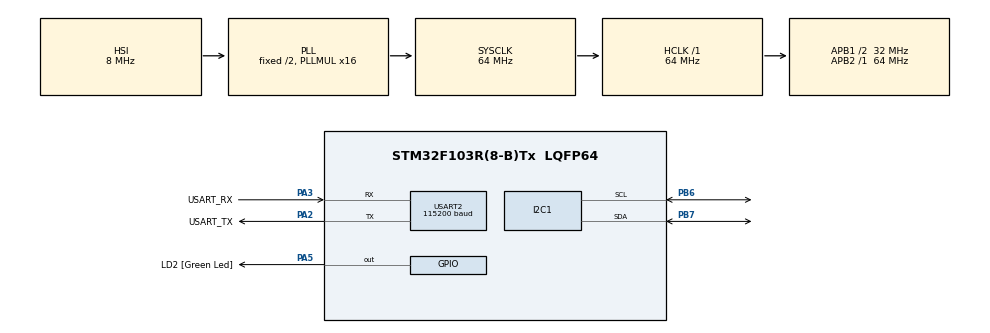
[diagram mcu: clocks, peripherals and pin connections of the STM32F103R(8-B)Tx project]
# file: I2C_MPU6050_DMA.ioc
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Dma.I2C1_RX.0.Direction=DMA_PERIPH_TO_MEMORY
Dma.I2C1_RX.0.Instance=DMA1_Channel7
Dma.I2C1_RX.0.MemDataAlignment=DMA_MDATAALIGN_BYTE
Dma.I2C1_RX.0.MemInc=DMA_MINC_ENABLE
Dma.I2C1_RX.0.Mode=DMA_NORMAL
Dma.I2C1_RX.0.PeriphDataAlignment=DMA_PDATAALIGN_BYTE
Dma.I2C1_RX.0.PeriphInc=DMA_PINC_DISABLE
Dma.I2C1_RX.0.Priority=DMA_PRIORITY_LOW
Dma.I2C1_TX.1.Direction=DMA_MEMORY_TO_PERIPH
Dma.I2C1_TX.1.Instance=DMA1_Channel6
Dma.I2C1_TX.1.MemDataAlignment=DMA_MDATAALIGN_BYTE
Dma.I2C1_TX.1.MemInc=DMA_MINC_ENABLE
Dma.I2C1_TX.1.Mode=DMA_NORMAL
Dma.I2C1_TX.1.PeriphDataAlignment=DMA_PDATAALIGN_BYTE
Dma.I2C1_TX.1.PeriphInc=DMA_PINC_DISABLE
Dma.I2C1_TX.1.Priority=DMA_PRIORITY_LOW
Dma.Request0=I2C1_RX
Dma.Request1=I2C1_TX
Mcu.Family=STM32F1
Mcu.Name=STM32F103R(8-B)Tx
Mcu.Package=LQFP64
NVIC.DMA1_Channel6_IRQn=true\:1\:0\:false\:false\:true\:true\:true\:true
NVIC.DMA1_Channel7_IRQn=true\:1\:0\:false\:false\:true\:true\:true\:true
NVIC.I2C1_ER_IRQn=true\:0\:0\:false\:false\:true\:true\:true\:true
NVIC.I2C1_EV_IRQn=true\:0\:0\:false\:false\:true\:true\:true\:true
NVIC.PriorityGroup=NVIC_PRIORITYGROUP_4
PA13.GPIO_Label=TMS
PA13.Mode=Serial_Wire
PA13.Signal=SYS_JTMS-SWDIO
PA14.GPIO_Label=TCK
PA14.Mode=Serial_Wire
PA14.Signal=SYS_JTCK-SWCLK
PA2.GPIO_Label=USART_TX
PA2.GPIO_Mode=GPIO_MODE_AF_PP
PA2.GPIO_PuPd=GPIO_NOPULL
PA2.GPIO_Speed=GPIO_SPEED_FREQ_LOW
PA2.Mode=Asynchronous
PA2.Signal=USART2_TX
PA3.GPIO_Label=USART_RX
PA3.GPIO_PuPd=GPIO_NOPULL
PA3.GPIO_Speed=GPIO_SPEED_FREQ_LOW
PA3.Mode=Asynchronous
PA3.Signal=USART2_RX
PA5.GPIO_Label=LD2 [Green Led]
PA5.GPIO_ModeDefaultOutputPP=GPIO_MODE_OUTPUT_PP
PA5.GPIO_PuPd=GPIO_NOPULL
PA5.GPIO_Speed=GPIO_SPEED_FREQ_LOW
PA5.Signal=GPIO_Output
PB3.GPIO_Label=SWO
PB3.Signal=SYS_JTDO-TRACESWO
PB6.Mode=I2C
PB6.Signal=I2C1_SCL
PB7.Mode=I2C
PB7.Signal=I2C1_SDA
PC14-OSC32_IN.Mode=LSE-External-Oscillator
PC14-OSC32_IN.Signal=RCC_OSC32_IN
PC15-OSC32_OUT.Mode=LSE-External-Oscillator
PC15-OSC32_OUT.Signal=RCC_OSC32_OUT
PD0-OSC_IN.Mode=HSE-External-Clock-Source
PD0-OSC_IN.Signal=RCC_OSC_IN
PD1-OSC_OUT.Mode=HSE-External-Clock-Source
PD1-OSC_OUT.Signal=RCC_OSC_OUT
ProjectManager.HeapSize=0x200
ProjectManager.StackSize=0x400
ProjectManager.TargetToolchain=STM32CubeIDE
RCC.AHBFreq_Value=64000000
RCC.APB1CLKDivider=RCC_HCLK_DIV2
RCC.APB1Freq_Value=32000000
RCC.APB1TimFreq_Value=64000000
RCC.APB2Freq_Value=64000000
RCC.APB2TimFreq_Value=64000000
RCC.HCLKFreq_Value=64000000
RCC.PLLMUL=RCC_PLL_MUL16
RCC.RTCClockSelection=RCC_RTCCLKSOURCE_LSE
RCC.SYSCLKFreq_VALUE=64000000
RCC.SYSCLKSource=RCC_SYSCLKSOURCE_PLLCLK
RCC.USBFreq_Value=64000000
USART2.BaudRate=115200
USART2.VirtualMode=VM_ASYNC
board=NUCLEO-F103RB

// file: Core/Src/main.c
/* USER CODE BEGIN Header */
/**
 ******************************************************************************
 * @file           : main.c
 * @brief          : Main program body
 ******************************************************************************
 * @attention
 *
 * Copyright (c) 2026 STMicroelectronics.
 * All rights reserved.
 *
 * This software is licensed under terms that can be found in the LICENSE file
 * in the root directory of this software component.
 * If no LICENSE file comes with this software, it is provided AS-IS.
 *
 ******************************************************************************
 */
/**
 * 04_I2C_MPU6050_DMA_c  —  [계층: HAL]  DMA 로 하는 논블로킹 I2C: 전송 중에도 CPU 는 다른 일을 한다
 *
 * 03_I2C_MPU6050 은 HAL_I2C_Mem_Read() 가 전송이 끝날 때까지(약 1.4ms @100kHz) CPU 를 붙잡는다.
 * 이 예제는 HAL_I2C_Mem_Read_DMA() 로 읽기를 "시작"만 하고 곧바로 다른 일을 하다가, 완료 콜백에서 결과를 받는다.
 *
 * 배선: MPU6050(GY-521) VCC=3.3V, GND, SCL=PB6, SDA=PB7, AD0=GND (주소 0x68) — 03_I2C_MPU6050 과 동일
 *
 * 동작
 *   - 100ms 마다 0x3B 부터 14바이트를 DMA 로 읽기 시작. 그동안 main 은 "다른 일"(free_loops 카운터)을 계속 수행.
 *   - 완료 콜백이 raw 데이터를 복사하고 플래그를 세움 -> main 이 변환해 UART(115200)로 출력.
 *   - 출력에는 "전송 시작~완료 사이에 main 이 돈 루프 수"가 함께 표시되어 CPU 가 자유로웠음을 보여준다.
 *   - 버스 오류(NACK, 타임아웃)는 ErrorCallback 에서 플래그로 알리고, main 이 I2C 를 재초기화해 복구한다.
 *
 * DMA 채널 매핑 (RM0008 13.3.7): I2C1_TX -> DMA1 채널6,  I2C1_RX -> DMA1 채널7
 *   I2C1->CR2.DMAEN=1, LAST=1 (마지막 바이트에서 NACK + STOP 자동 생성)
 *
 * ISR vs 콜백
 *   DMA1_Channel7_IRQHandler / DMA1_Channel6_IRQHandler / I2C1_EV_IRQHandler / I2C1_ER_IRQHandler (stm32f1xx_it.c, 진짜 ISR)
 *     -> HAL_DMA_IRQHandler / HAL_I2C_EV_IRQHandler / HAL_I2C_ER_IRQHandler
 *       -> HAL_I2C_MemRxCpltCallback() (수신 완료), HAL_I2C_ErrorCallback() (오류)  (이 파일)
 */
/* USER CODE END Header */
#include "main.h"

/* USER CODE BEGIN Includes */
#include <stdio.h>
#include <string.h>
/* USER CODE END Includes */

/* USER CODE BEGIN PD */
#define MPU_ADDR      (0x68 << 1)
#define REG_WHO_AM_I  0x75
#define REG_PWR_MGMT1 0x6B
#define REG_ACCEL_OUT 0x3B

/* USER CODE END PD */

I2C_HandleTypeDef hi2c1;
DMA_HandleTypeDef hdma_i2c1_rx;
DMA_HandleTypeDef hdma_i2c1_tx;
UART_HandleTypeDef huart2;

/* USER CODE BEGIN PV */
static uint8_t dma_buf[14];                     /* DMA 가 채우는 버퍼 */
static uint8_t data[14];                        /* 콜백이 복사해 둔 사본 */
static volatile uint8_t rx_done, rx_error;
static volatile uint32_t loops_during;          /* 전송 중 main 이 돈 횟수 */
/* USER CODE END PV */

void SystemClock_Config(void);
static void MX_GPIO_Init(void);
static void MX_DMA_Init(void);
static void MX_I2C1_Init(void);
static void MX_USART2_UART_Init(void);

/* USER CODE BEGIN 0 */
static void print(const char *s) { HAL_UART_Transmit(&huart2, (uint8_t *)s, (uint16_t)strlen(s), 200); }
/* USER CODE END 0 */

int main(void)
{

  /* USER CODE BEGIN 1 */
    char msg[128];
    uint8_t who = 0, wake = 0;
  /* USER CODE END 1 */

  /* MCU Configuration--------------------------------------------------------*/

  /* Reset of all peripherals, Initializes the Flash interface and the Systick. */
  HAL_Init();

  /* Configure the system clock */
  SystemClock_Config();

  /* Initialize all configured peripherals */
  MX_GPIO_Init();
  MX_DMA_Init();
  MX_I2C1_Init();
  MX_USART2_UART_Init();
  /* USER CODE BEGIN 2 */
    if (HAL_I2C_Mem_Read(&hi2c1, MPU_ADDR, REG_WHO_AM_I, I2C_MEMADD_SIZE_8BIT, &who, 1, 100) != HAL_OK)   /* 초기화는 블로킹 API 로 */
    {
        print("\r\nMPU6050 not responding\r\n");
        Error_Handler();
    }
    HAL_I2C_Mem_Write(&hi2c1, MPU_ADDR, REG_PWR_MGMT1, I2C_MEMADD_SIZE_8BIT, &wake, 1, 100);   /* 슬립 해제 */
    snprintf(msg, sizeof msg, "\r\nWHO_AM_I=0x%02X, starting DMA reads\r\n", who);
    print(msg);

    uint32_t t_read = HAL_GetTick();
    uint32_t loops = 0;
    uint8_t busy = 0;
  /* USER CODE END 2 */

  /* Infinite loop */
  while (1)
  {

    /* USER CODE BEGIN 3 */
        loops++;                                               /* "다른 일" 흉내 */

        if (!busy && HAL_GetTick() - t_read >= 100)
        {
            t_read += 100;
            rx_done = 0; rx_error = 0; loops = 0;
            if (HAL_I2C_Mem_Read_DMA(&hi2c1, MPU_ADDR, REG_ACCEL_OUT, I2C_MEMADD_SIZE_8BIT, dma_buf, 14) == HAL_OK)
                busy = 1;                                      /* 시작만 하고 즉시 반환 */
        }

        if (busy && rx_done)
        {
            busy = 0;
            loops_during = loops;
            int16_t ax = (int16_t)((data[0] << 8) | data[1]);
            int16_t ay = (int16_t)((data[2] << 8) | data[3]);
            int16_t az = (int16_t)((data[4] << 8) | data[5]);
            int16_t gz = (int16_t)((data[12] << 8) | data[13]);
            snprintf(msg, sizeof msg, "acc[mg] %6ld %6ld %6ld | gyroZ[0.1dps] %6ld | main loops during DMA = %lu\r\n",
                     (long)ax * 1000 / 16384, (long)ay * 1000 / 16384, (long)az * 1000 / 16384,
                     (long)gz * 10 / 131, (unsigned long)loops_during);
            print(msg);
        }
        else if (busy && rx_error)
        {
            busy = 0;
            print("I2C error -> re-init\r\n");
            HAL_I2C_DeInit(&hi2c1);
            MX_I2C1_Init();
        }
  }
  /* USER CODE END 3 */
}

void SystemClock_Config(void)
{
  RCC_OscInitTypeDef RCC_OscInitStruct = {0};
  RCC_ClkInitTypeDef RCC_ClkInitStruct = {0};

  /** Initializes the RCC Oscillators according to the specified parameters
  * in the RCC_OscInitTypeDef structure.
  */
  RCC_OscInitStruct.OscillatorType = RCC_OSCILLATORTYPE_HSI;
  RCC_OscInitStruct.HSIState = RCC_HSI_ON;
  RCC_OscInitStruct.HSICalibrationValue = RCC_HSICALIBRATION_DEFAULT;
  RCC_OscInitStruct.PLL.PLLState = RCC_PLL_ON;
  RCC_OscInitStruct.PLL.PLLSource = RCC_PLLSOURCE_HSI_DIV2;
  RCC_OscInitStruct.PLL.PLLMUL = RCC_PLL_MUL16;
  if (HAL_RCC_OscConfig(&RCC_OscInitStruct) != HAL_OK)
  {
    Error_Handler();
  }

  /** Initializes the CPU, AHB and APB buses clocks
  */
  RCC_ClkInitStruct.ClockType = RCC_CLOCKTYPE_HCLK|RCC_CLOCKTYPE_SYSCLK
                              |RCC_CLOCKTYPE_PCLK1|RCC_CLOCKTYPE_PCLK2;
  RCC_ClkInitStruct.SYSCLKSource = RCC_SYSCLKSOURCE_PLLCLK;
  RCC_ClkInitStruct.AHBCLKDivider = RCC_SYSCLK_DIV1;
  RCC_ClkInitStruct.APB1CLKDivider = RCC_HCLK_DIV2;
  RCC_ClkInitStruct.APB2CLKDivider = RCC_HCLK_DIV1;

  if (HAL_RCC_ClockConfig(&RCC_ClkInitStruct, FLASH_LATENCY_2) != HAL_OK)
  {
    Error_Handler();
  }
}

static void MX_I2C1_Init(void)
{

  hi2c1.Instance = I2C1;
  hi2c1.Init.ClockSpeed = 100000;
  hi2c1.Init.DutyCycle = I2C_DUTYCYCLE_2;
  hi2c1.Init.OwnAddress1 = 0;
  hi2c1.Init.AddressingMode = I2C_ADDRESSINGMODE_7BIT;
  hi2c1.Init.DualAddressMode = I2C_DUALADDRESS_DISABLE;
  hi2c1.Init.OwnAddress2 = 0;
  hi2c1.Init.GeneralCallMode = I2C_GENERALCALL_DISABLE;
  hi2c1.Init.NoStretchMode = I2C_NOSTRETCH_DISABLE;
  if (HAL_I2C_Init(&hi2c1) != HAL_OK)
  {
    Error_Handler();
  }
  /* USER CODE BEGIN I2C1_Init 2 */
  /* HAL_I2C_Init -> (MspInit) 후 I2C1->CR2.FREQ = PCLK1(MHz), I2C1->CCR / TRISE = 100kHz 타이밍,
   * CR1.PE = 1. NoStretch/GeneralCall/DualAddress = OAR2.ENDUAL, CR1.NOSTRETCH/ENGC 비트 */
  /* USER CODE END I2C1_Init 2 */

}

static void MX_USART2_UART_Init(void)
{

  huart2.Instance = USART2;
  huart2.Init.BaudRate = 115200;
  huart2.Init.WordLength = UART_WORDLENGTH_8B;
  huart2.Init.StopBits = UART_STOPBITS_1;
  huart2.Init.Parity = UART_PARITY_NONE;
  huart2.Init.Mode = UART_MODE_TX_RX;
  huart2.Init.HwFlowCtl = UART_HWCONTROL_NONE;
  huart2.Init.OverSampling = UART_OVERSAMPLING_16;
  if (HAL_UART_Init(&huart2) != HAL_OK)
  {
    Error_Handler();
  }

}

static void MX_DMA_Init(void)
{

  /* DMA controller clock enable */
  __HAL_RCC_DMA1_CLK_ENABLE();

  /* DMA interrupt init */
  /* DMA1_Channel6_IRQn interrupt configuration */
  HAL_NVIC_SetPriority(DMA1_Channel6_IRQn, 1, 0);
  HAL_NVIC_EnableIRQ(DMA1_Channel6_IRQn);
  /* DMA1_Channel7_IRQn interrupt configuration */
  HAL_NVIC_SetPriority(DMA1_Channel7_IRQn, 1, 0);
  HAL_NVIC_EnableIRQ(DMA1_Channel7_IRQn);

}

static void MX_GPIO_Init(void)
{
  GPIO_InitTypeDef GPIO_InitStruct = {0};

  /* GPIO Ports Clock Enable */
  __HAL_RCC_GPIOC_CLK_ENABLE();
  __HAL_RCC_GPIOD_CLK_ENABLE();
  __HAL_RCC_GPIOA_CLK_ENABLE();
  __HAL_RCC_GPIOB_CLK_ENABLE();

  /*Configure GPIO pin Output Level */
  HAL_GPIO_WritePin(LD2_GPIO_Port, LD2_Pin, GPIO_PIN_RESET);

  /*Configure GPIO pin : LD2_Pin */
  GPIO_InitStruct.Pin = LD2_Pin;
  GPIO_InitStruct.Mode = GPIO_MODE_OUTPUT_PP;
  GPIO_InitStruct.Pull = GPIO_NOPULL;
  GPIO_InitStruct.Speed = GPIO_SPEED_FREQ_LOW;
  HAL_GPIO_Init(LD2_GPIO_Port, &GPIO_InitStruct);

}

/* USER CODE BEGIN 4 */
/* ------------------------------------------------------------------------- */
/* HAL 콜백 (ISR 문맥)                                                          */
/* ------------------------------------------------------------------------- */
void HAL_I2C_MemRxCpltCallback(I2C_HandleTypeDef *hi2c)
{
    if (hi2c->Instance == I2C1) { memcpy(data, dma_buf, sizeof data); rx_done = 1; }
}

void HAL_I2C_ErrorCallback(I2C_HandleTypeDef *hi2c)
{
    if (hi2c->Instance == I2C1) rx_error = 1;
}
/* USER CODE END 4 */

void Error_Handler(void)
{
  __disable_irq();
  while (1) {
  }
}
#ifdef USE_FULL_ASSERT
/**
  * @brief  Reports the name of the source file and the source line number
  *         where the assert_param error has occurred.
  * @param  file: pointer to the source file name
  * @param  line: assert_param error line source number
  * @retval None
  */
void assert_failed(uint8_t *file, uint32_t line)
{
  /* USER CODE BEGIN 6 */
  /* User can add his own implementation to report the file name and line
     number, ex: printf("Wrong parameters value: file %s on line %d\r\n", file,
     line) */
  /* USER CODE END 6 */
}
#endif /* USE_FULL_ASSERT */
